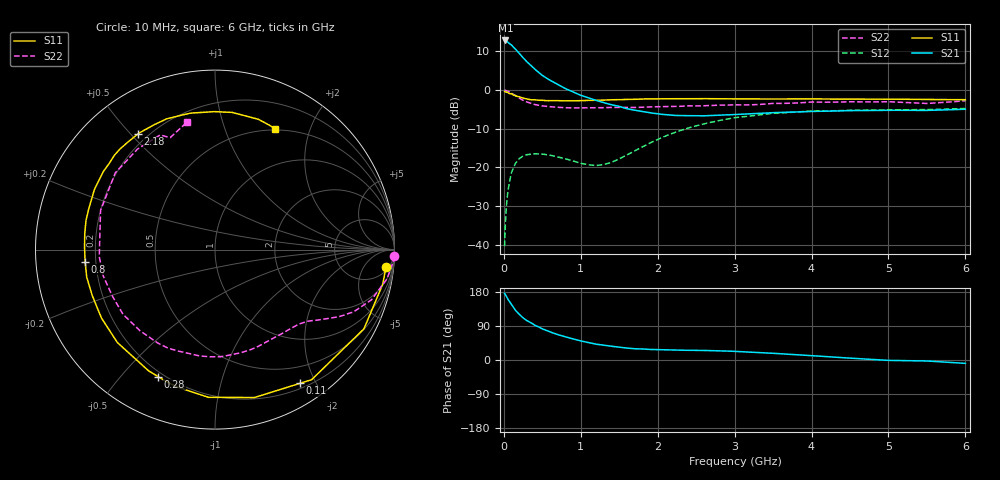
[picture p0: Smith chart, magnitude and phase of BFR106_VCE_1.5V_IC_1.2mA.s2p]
! Infineon Technologies  Discrete & RF Semiconductors
! BFR106
! VCE =  1.5 V,  IC =  1.2 mA
! Common Emitter S-Parameters:  Nov 2015
# GHz  S  MA  R  50
!  f  S11  S21  S12  S22
! GHz  MAG  ANG  MAG  ANG  MAG  ANG  MAG  ANG
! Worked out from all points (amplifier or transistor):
!   210 points, 10 MHz to 6 GHz, reference 50 ohm
!   highest |S21| = 12.8 dB at 20 MHz (marker M1)
!   |S21| within 3 dB of that: start of sweep to 184.9 MHz
!   unconditionally stable (mu >= 1): 824.9 MHz to end of sweep
!   at 185 MHz: K = 0.22, MSG = 14.0 dB, |S12| = -18.1 dB
!   at 1.52 GHz: K = 1.39, MAG = 2.9 dB, |S12| = -17.6 dB
!   at 6 GHz: K = 1.02, MAG = -1.0 dB, |S12| = -4.7 dB
!   S11 on the Smith chart (normalised r, x): 10 MHz: 7, -17; 110 MHz: 0.26, -1.79; 280 MHz: 0.18, -0.63; 800 MHz: 0.16, -0.05; 2.18 GHz: 0.16, +0.52; 6 GHz: 0.49, +1.51
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0.01  0.9578 -5.7  4.36 175.7  0.0096 89.0  0.9993 -2.1
0.02  0.9543 -11.6  4.386 172.7  0.0192 83.9  0.9945 -4.0
0.05  0.94 -28.0  4.191 161.2  0.0466 73.6  0.9718 -9.7
0.1  0.9029 -53.4  3.834 145.8  0.0862 60.3  0.9154 -17.8
0.11  0.8831 -57.5  3.729 143.1  0.0911 57.3  0.9008 -19.0
0.15  0.8531 -75.1  3.402 131.1  0.1125 48.1  0.8465 -24.2
0.2  0.824 -92.5  2.993 120.6  0.1302 39.9  0.7895 -28.1
0.24  0.7949 -104.3  2.691 113.0  0.1384 34.2  0.7476 -30.7
0.28  0.7756 -114.1  2.439 106.8  0.1439 30.0  0.7164 -32.8
0.4  0.751 -136.4  1.873 92.0  0.1504 20.6  0.6514 -37.8
0.5  0.7386 -148.9  1.548 82.2  0.1492 15.8  0.6249 -41.7
0.6  0.7303 -159.4  1.342 73.9  0.1443 13.1  0.6102 -45.9
0.8  0.7266 -174.7  1.047 60.8  0.1295 12.6  0.5923 -55.2
1.02  0.7318 171.8  0.844 49.5  0.1123 19.4  0.5906 -66.1
1.4  0.7507 153.5  0.646 36.3  0.1164 47.2  0.5976 -86.9
2.02  0.7709 129.1  0.491 27.1  0.2352 62.1  0.61 -122.6
2.18  0.774 123.8  0.473 26.2  0.2734 60.3  0.6141 -131.7
2.66  0.7747 108.6  0.468 24.9  0.3773 50.0  0.6289 -159.0
3.1  0.7698 98.2  0.488 21.8  0.4503 39.0  0.6435 178.9
4.1  0.7684 81.7  0.532 10.2  0.5369 17.2  0.6985 139.4
5.1  0.7631 70.6  0.549 -1.3  0.5549 2.3  0.7006 114.9
6  0.7521 63.4  0.566 -8.9  0.5798 -7.6  0.728 102.2
